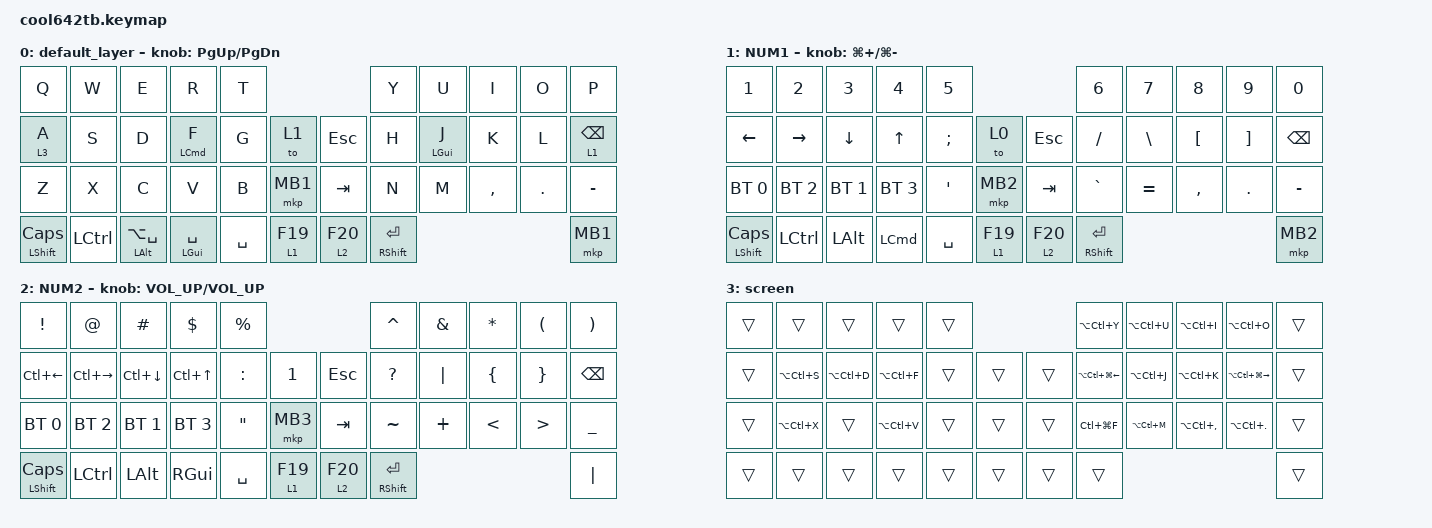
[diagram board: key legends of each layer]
#include <behaviors.dtsi>
#include <dt-bindings/zmk/bt.h>
#include <dt-bindings/zmk/keys.h>
#include <dt-bindings/zmk/pointing.h>

#define MOUSE 4
#define SCROLL 5
#define NUM 6

&mt {
    flavor = "balanced";
    quick-tap-ms = <0>;
};

/ {
    combos {
        compatible = "zmk,combos";

        comb1 {
            bindings = <&kp TAB>;
            key-positions = <11 10>;
        };

        comb2 {
            bindings = <&kp LS(ESCAPE)>;
            key-positions = <0 1>;
        };

        comb3 {
            bindings = <&kp CAPSLOCK>;
            key-positions = <22 23>;
        };

        comb4 {
            bindings = <&kp BACKSPACE>;
            key-positions = <9 8>;
        };

        comb5 {
            bindings = <&bt BT_CLR_ALL>;
            key-positions = <9 8>;
            timeout-ms = <0>;
            layers = <2>;
        };

        next_window {
            bindings = <&kp LG(TAB)>;
            key-positions = <18 13>;
        };

        back_window {
            bindings = <&kp RS(TAB)>;
            key-positions = <18 12>;
        };
    };

    macros {
        to_layer_0: to_layer_0 {
            compatible = "zmk,behavior-macro-one-param";
            #binding-cells = <1>;
            bindings = <&to 0 &macro_param_1to1 &kp MACRO_PLACEHOLDER>;
            label = "TO_LAYER_0";
        };
    };

    behaviors {
        lt_to_layer_0: lt_to_layer_0 {
            compatible = "zmk,behavior-hold-tap";
            label = "LAYER_TAP_TO_0";
            bindings = <&mo>, <&to_layer_0>;

            #binding-cells = <2>;
            tapping-term-ms = <200>;
        };
    };

    keymap {
        compatible = "zmk,keymap";

        default_layer {
            bindings = <
&kp Q                &kp W             &kp E                   &kp R               &kp T                            &kp Y                  &kp U           &kp I      &kp O       &kp P
&lt 3 A              &kp S             &kp D                   &mt LEFT_COMMAND F  &kp G      &to 1      &kp ESC    &kp H                  &mt LEFT_GUI J  &kp K      &kp L       &lt 1 BACKSPACE
&kp Z                &kp X             &kp C                   &kp V               &kp B      &mkp MB1   &kp TAB    &kp N                  &kp M           &kp COMMA  &kp PERIOD  &kp MINUS
&mt LEFT_SHIFT CAPS  &kp LEFT_CONTROL  &mt LEFT_ALT LA(SPACE)  &mt LEFT_GUI SPACE  &kp SPACE  &lt 1 F19  &lt 2 F20  &mt RIGHT_SHIFT ENTER                                         &mkp MB1
            >;

            sensor-bindings = <&inc_dec_kp PG_UP PAGE_DOWN>;
        };

        NUM1 {
            bindings = <
&kp N1               &kp N2        &kp N3        &kp N4        &kp N5                                 &kp N6                 &kp N7         &kp N8            &kp N9             &kp N0
&kp LEFT             &kp RIGHT     &kp DOWN      &kp UP_ARROW  &kp SEMICOLON   &to 0      &kp ESCAPE  &kp SLASH              &kp BACKSLASH  &kp LEFT_BRACKET  &kp RIGHT_BRACKET  &kp BACKSPACE
&bt BT_SEL 0         &bt BT_SEL 2  &bt BT_SEL 1  &bt BT_SEL 3  &kp APOSTROPHE  &mkp MB2   &kp TAB     &kp GRAVE              &kp EQUAL      &kp COMMA         &kp PERIOD         &kp MINUS
&mt LEFT_SHIFT CAPS  &kp LCTRL     &kp LEFT_ALT  &kp LCMD      &kp SPACE       &lt 1 F19  &lt 2 F20   &mt RIGHT_SHIFT ENTER                                                      &mkp MB2
            >;

            sensor-bindings = <&inc_dec_kp LG(PLUS) LG(MINUS)>;
        };

        NUM2 {
            bindings = <
&kp EXCLAMATION      &kp AT_SIGN       &kp HASH      &kp DOLLAR        &kp PERCENT                               &kp CARET              &kp AMPERSAND  &kp ASTERISK    &kp LEFT_PARENTHESIS  &kp RIGHT_PARENTHESIS
&kp LC(LEFT)         &kp LC(RIGHT)     &kp LC(DOWN)  &kp LC(UP_ARROW)  &kp COLON          &kp N1     &kp ESCAPE  &kp QUESTION           &kp PIPE       &kp LEFT_BRACE  &kp RIGHT_BRACE       &kp BACKSPACE
&bt BT_SEL 0         &bt BT_SEL 2      &bt BT_SEL 1  &bt BT_SEL 3      &kp DOUBLE_QUOTES  &mkp MB3   &kp TAB     &kp TILDE              &kp PLUS       &kp LESS_THAN   &kp GREATER_THAN      &kp UNDERSCORE
&mt LEFT_SHIFT CAPS  &kp LEFT_CONTROL  &kp LEFT_ALT  &kp RGUI          &kp SPACE          &lt 1 F19  &lt 2 F20   &mt RIGHT_SHIFT ENTER                                                       &kp PIPE
            >;

            sensor-bindings = <&inc_dec_kp C_VOL_UP C_VOL_UP>;
        };

        screen {
            bindings = <
&trans  &trans         &trans         &trans         &trans                  &kp LA(LC(Y))               &kp LA(LC(U))  &kp LA(LC(I))      &kp LA(LC(O))                &trans
&trans  &kp LA(LC(S))  &kp LA(LC(D))  &kp LA(LC(F))  &trans  &trans  &trans  &kp LA(LC(LG(LEFT_ARROW)))  &kp LA(LC(J))  &kp LA(LC(K))      &kp LA(LC(LG(RIGHT_ARROW)))  &trans
&trans  &kp LA(LC(X))  &trans         &kp LA(LC(V))  &trans  &trans  &trans  &kp LC(LG(F))               &kp LA(LC(M))  &kp LA(LC(COMMA))  &kp LA(LC(PERIOD))           &trans
&trans  &trans         &trans         &trans         &trans  &trans  &trans  &trans                                                                                     &trans
            >;
        };
    };
};
